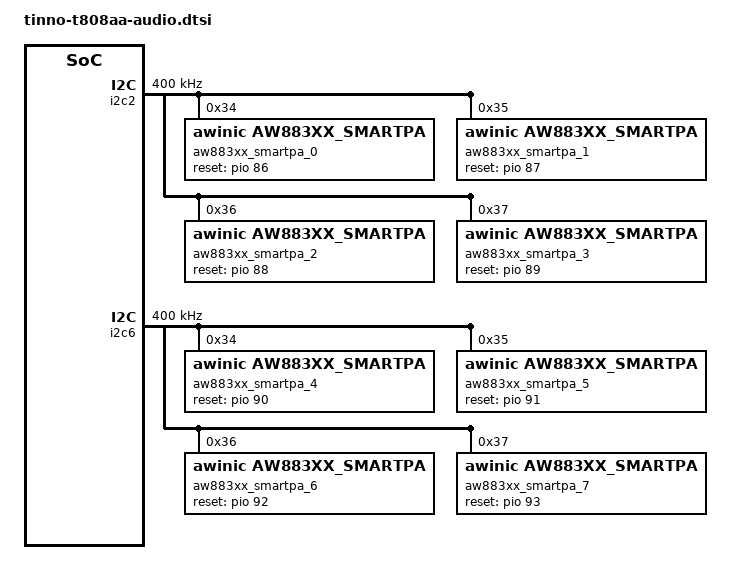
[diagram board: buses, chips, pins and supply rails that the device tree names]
&i2c2 {
        clock-frequency = <400000>;
        aw883xx_smartpa_0: aw883xx_smartpa@34 {
                compatible = "awinic,aw883xx_smartpa";
                #sound-dai-cells = <0>;
                reg = <0x34>;
                reset-gpio = <&pio 86 0>;
                //irq-gpio = <&pio 37 0x0>;
                sync-load = <1>;
                sound-channel = <0>;
                re-min = <1000>;
                re-max= <40000>;
                cali-seq-num = <2>;
                cali-seq-index = <0>;
                status = "okay";
        };
        aw883xx_smartpa_1: aw883xx_smartpa@35 {
                compatible = "awinic,aw883xx_smartpa";
                #sound-dai-cells = <0>;
                reg = <0x35>;
                reset-gpio = <&pio 87 0>;
                //irq-gpio = <&pio 37 0x0>;
                sync-load = <1>;
                sound-channel = <1>;
                re-min = <1000>;
                re-max= <40000>;
                cali-seq-num = <2>;
                cali-seq-index = <0>;
                status = "okay";
        };
        aw883xx_smartpa_2: aw883xx_smartpa@36 {
                compatible = "awinic,aw883xx_smartpa";
                #sound-dai-cells = <0>;
                reg = <0x36>;
                reset-gpio = <&pio 88 0>;
                //irq-gpio = <&pio 37 0x0>;
                sync-load = <1>;
                sound-channel = <2>;
                re-min = <1000>;
                re-max= <40000>;
                cali-seq-num = <2>;
                cali-seq-index = <0>;
                status = "okay";
        };
        aw883xx_smartpa_3: aw883xx_smartpa@37 {
                compatible = "awinic,aw883xx_smartpa";
                #sound-dai-cells = <0>;
                reg = <0x37>;
                reset-gpio = <&pio 89 0>;
                //irq-gpio = <&pio 37 0x0>;
                sync-load = <1>;
                sound-channel = <3>;
                re-min = <1000>;
                re-max= <40000>;
                cali-seq-num = <2>;
                cali-seq-index = <1>;
                status = "okay";
        };

};

&i2c6 {
        clock-frequency = <400000>;
        aw883xx_smartpa_4: aw883xx_smartpa@34 {
                compatible = "awinic,aw883xx_smartpa";
                #sound-dai-cells = <0>;
                reg = <0x34>;
                reset-gpio = <&pio 90 0>;
                //irq-gpio = <&pio 37 0x0>;
                sync-load = <1>;
                sound-channel = <4>;
                re-min = <1000>;
                re-max= <40000>;
                cali-seq-num = <2>;
                cali-seq-index = <1>;
                status = "okay";
        };
        aw883xx_smartpa_5: aw883xx_smartpa@35 {
                compatible = "awinic,aw883xx_smartpa";
                #sound-dai-cells = <0>;
                reg = <0x35>;
                reset-gpio = <&pio 91 0>;
                //irq-gpio = <&pio 37 0x0>;
                sync-load = <1>;
                sound-channel = <5>;
                re-min = <1000>;
                re-max= <40000>;
                cali-seq-num = <2>;
                cali-seq-index = <1>;
                status = "okay";
        };
        aw883xx_smartpa_6: aw883xx_smartpa@36 {
                compatible = "awinic,aw883xx_smartpa";
                #sound-dai-cells = <0>;
                reg = <0x36>;
                reset-gpio = <&pio 92 0>;
                //irq-gpio = <&pio 37 0x0>;
                sync-load = <1>;
                sound-channel = <6>;
                re-min = <1000>;
                re-max= <40000>;
                cali-seq-num = <2>;
                cali-seq-index = <1>;
                status = "okay";
        };
        aw883xx_smartpa_7: aw883xx_smartpa@37 {
                compatible = "awinic,aw883xx_smartpa";
                #sound-dai-cells = <0>;
                reg = <0x37>;
                reset-gpio = <&pio 93 0>;
                //irq-gpio = <&pio 37 0x0>;
                sync-load = <1>;
                sound-channel = <7>;
                re-min = <1000>;
                re-max= <40000>;
                cali-seq-num = <2>;
                cali-seq-index = <0>;
                status = "okay";
        };

};
&sound {
        spkid0-gpio = <&pio 101 0>;
        spkid1-gpio = <&pio 102 0>;
        spkid2-gpio = <&pio 103 0>;
        spkid3-gpio = <&pio 104 0>;
        mediatek,speaker-codec {
                sound-dai = <&aw883xx_smartpa_0 &aw883xx_smartpa_1 &aw883xx_smartpa_2 &aw883xx_smartpa_3
                             &aw883xx_smartpa_4 &aw883xx_smartpa_5 &aw883xx_smartpa_6 &aw883xx_smartpa_7>;
        };
};
